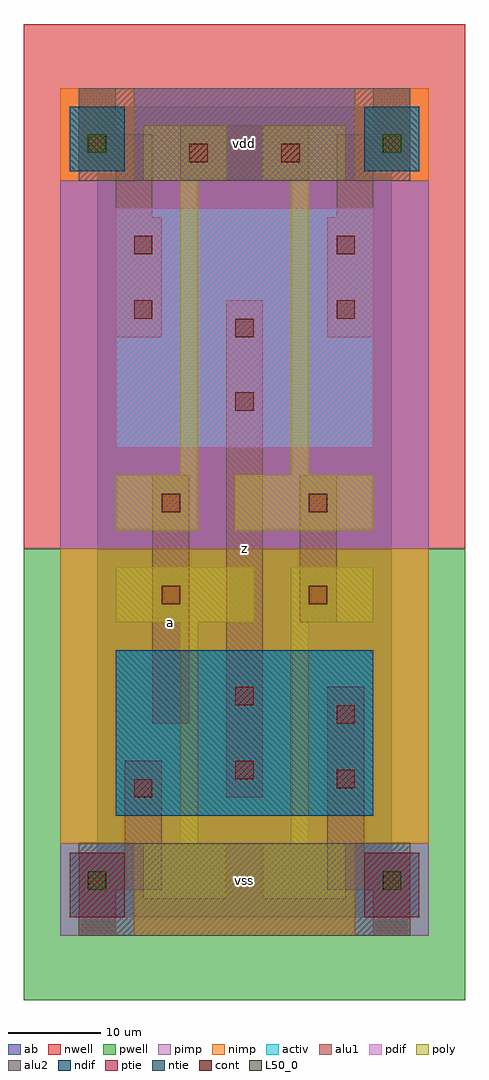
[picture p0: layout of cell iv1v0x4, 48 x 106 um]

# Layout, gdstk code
import gdstk
lib = gdstk.Library(unit=1e-6, precision=1e-09)
def R(c, l, rs):  # rectangles x0, y0, x1, y1
    for r in rs: c.add(gdstk.rectangle(r[:2], r[2:], *l))
ndif = (3, 0)
pdif = (4, 0)
ntie = (5, 0)
ptie = (6, 0)
cont = (25, 0)
pwell = (41, 0)
nwell = (42, 0)
activ = (43, 0)
pimp = (44, 0)
nimp = (45, 0)
poly = (46, 0)
alu1 = (49, 0)
L50_0 = (50, 0)
alu2 = (51, 0)
ab = (63, 0)

iv1v0x4 = lib.new_cell('iv1v0x4')
R(iv1v0x4, ndif, [(2,11,30,29)])
R(iv1v0x4, pdif, [(2,51,30,77)])
R(iv1v0x4, ntie, [(-3,81,3,88), (29,81,35,88)])
R(iv1v0x4, ptie, [(-3,0,3,7), (29,0,35,7)])
R(iv1v0x4, cont, [(-1,3,1,5), (31,3,33,5), (4,13,6,15), (26,14,28,16), (15,15,17,17), (26,21,28,23), (15,23,17,25), (7,34,9,36), (23,34,25,36), (7,44,9,46), (23,44,25,46), (15,55,17,57), (15,63,17,65), (4,65,6,67), (26,65,28,67), (4,72,6,74), (26,72,28,74), (10,82,12,84), (20,82,22,84), (-1,83,1,85), (31,83,33,85)])
R(iv1v0x4, pwell, [(-8,-9,40,40)])
R(iv1v0x4, nwell, [(-8,40,40,97)])
R(iv1v0x4, activ, [(-3,0,3,7), (29,0,35,7), (2,11,30,29), (2,51,30,77), (-3,81,3,88), (29,81,35,88)])
R(iv1v0x4, pimp, [(-4,-2,4,8), (28,-2,36,8), (-4,40,36,80), (4,80,28,90)])
R(iv1v0x4, nimp, [(4,-2,28,8), (-4,8,36,40), (-4,80,4,90), (28,80,36,90)])
R(iv1v0x4, poly, [(5,2,14,8), (18,2,27,8), (9,8,11,32), (21,8,23,32), (2,32,17,38), (21,32,30,38), (2,42,11,48), (15,42,30,48), (9,48,11,80), (21,48,23,80), (5,80,14,86), (18,80,27,86)])
R(iv1v0x4, alu1, [(-2,-2,2,3), (30,-2,34,3), (-2,3,7,7), (25,3,34,7), (3,7,7,17), (25,7,29,25), (14,13,18,67), (6,21,10,48), (22,32,26,48), (2,63,7,76), (25,63,30,76), (2,76,6,81), (26,76,30,81), (9,80,23,86), (-2,81,6,85), (26,81,34,85), (-2,85,2,90), (30,85,34,90)])
R(iv1v0x4, L50_0, [(-1,3,1,5), (31,3,33,5), (-1,83,1,85), (31,83,33,85)])
R(iv1v0x4, alu2, [(-2,-2,34,8), (-2,80,34,90)])
R(iv1v0x4, ab, [(0,0,32,88)])
iv1v0x4.add(gdstk.Label('a', (8,32), layer=49, texttype=0))
iv1v0x4.add(gdstk.Label('z', (16,40), layer=49, texttype=0))
iv1v0x4.add(gdstk.Label('vss', (16,4), layer=51, texttype=0))
iv1v0x4.add(gdstk.Label('vdd', (16,84), layer=51, texttype=0))

lib.write_gds('iv1v0x4.gds')
